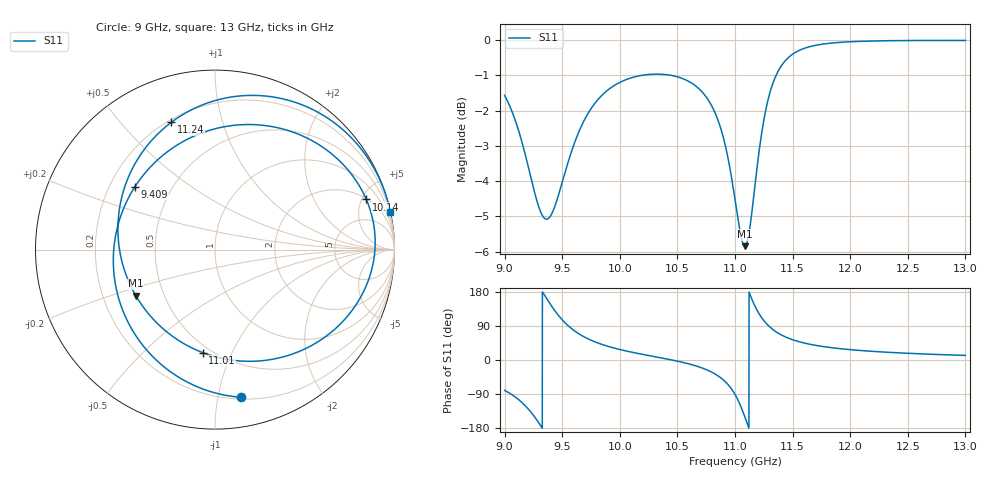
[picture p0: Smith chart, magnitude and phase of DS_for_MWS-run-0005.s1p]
! TOUCHSTONE file generated by CST DESIGN STUDIO
! Date and time: Tue Feb  4 18:08:15 2025
! Project name: C:\Work\MatlabApps\UnitCellOptimizationMatlab\CST\unitcell.cst
! Tree item: Tasks\Sweep1\SPara1\S-Parameters
! Header version: 2024
! Port assignment regex: !\s*Touchstone port\s*([0-9]+)\s*=\s*(CST MWS port|CST DES external port|CST DES block port)\s*(.+)\s* \(\"(.*)\"\)(\s*mode\s*([0-9]+))?.*
! Touchstone port assignment:
! Touchstone port 1 = CST DES external port 1 ("")
# GHz S MA R 50
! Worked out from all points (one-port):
!   4001 points, 9 GHz to 13 GHz, reference 50 ohm
!   lowest |S11| = -5.8 dB at 11.09 GHz (marker M1), VSWR 3.08, Z = 17.3 - j12 ohm
!   |S11| at or under -10 dB: nowhere
!   S11 on the Smith chart (normalised r, x): 9 GHz: 0.21, -1.17; 9.409 GHz: 0.31, +0.32; 10.14 GHz: 2.06, +5.44; 11.01 GHz: 0.45, -0.78; 11.24 GHz: 0.21, +0.69; 13 GHz: 0.03, +9.41
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9  0.8351 -80.1
9.138  0.729 -108.7
9.261  0.6076 -150.3
9.334  0.562 176.9
9.409  0.5672 141.7
9.5  0.6288 106.1
9.599  0.7093 78.7
9.731  0.7908 54.9
10  0.8713 27.7
10.14  0.8881 18.3
10.5  0.8874 -3.0
10.679  0.8559 -17.3
10.809  0.8005 -33.8
10.908  0.7178 -55.1
11  0.5943 -90.8
11.011  0.5782 -96.8
11.085  0.5103 -149.8
11.12  0.5307 -179.1
11.154  0.5839 155.0
11.198  0.6731 127.8
11.238  0.7497 109.0
11.334  0.8734 79.2
11.412  0.9247 64.6
11.5  0.9555 53.5
11.698  0.9834 38.8
12  0.9951 27.3
12.5  0.9991 17.7
13  0.9993 12.1
